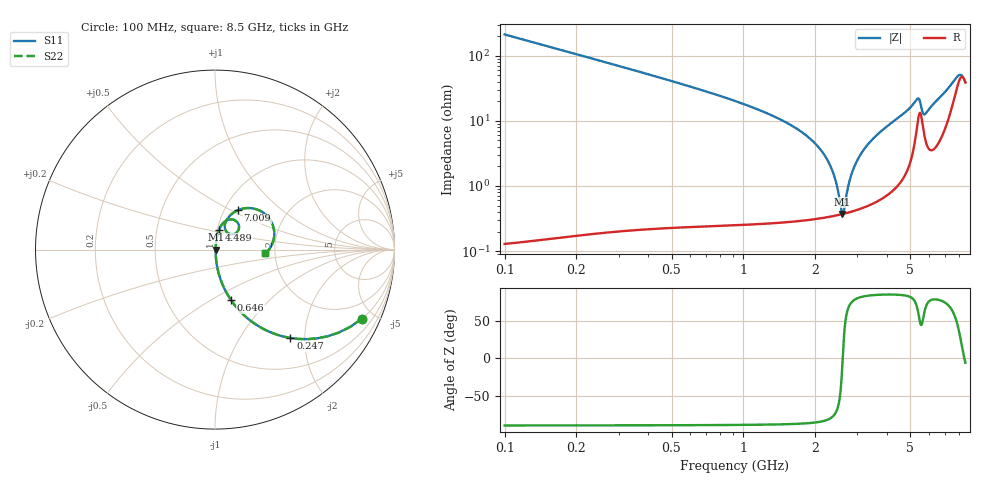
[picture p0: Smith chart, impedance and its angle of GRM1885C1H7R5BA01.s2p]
!Murata Part Number: GRM1885C1H7R5BA01
!These Parameters are Measured in Series Mode Connection
!Data Generated on Mar 30, 2021
!  o--ll--o
!Port1  Port2
!  o------o
!Operation Temp=25[degC], DC Bias Voltage=0[V]
!Freq. Start=100[MHz] Stop=9[GHz] 401[Steps]
# Hz S RI R 50
!Freq.(Hz) S11(Real) S11(Imag) S21(Real) S21(Imag) S12(Real) S12(Imag) S22(Real) S22(Imag)
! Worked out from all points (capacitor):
!   401 points, 100 MHz to 8.5 GHz, reference 50 ohm
!   read as one part in series: C = 7.5 pF near 142 MHz
!   lowest |Z| = 373 mohm at 2.599 GHz (marker M1)
!   series resonance near 2.605 GHz, so ESL is about 500 pH
!   S11 on the Smith chart (normalised r, x): 100 MHz: 1.00, -4.24; 247 MHz: 1.00, -1.70; 646 MHz: 1.00, -0.62; 4.489 GHz: 1.02, +0.23; 7.009 GHz: 1.16, +0.54; 8.5 GHz: 1.77, -0.08
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1e8  0.8176 -0.3858  0.1824 0.3858  0.1824 0.3858  0.8176 -0.3858
2.47e8  0.4202 -0.4925  0.5798 0.4925  0.5798 0.4925  0.4202 -0.4925
4.15e8  0.2 -0.3978  0.8 0.3978  0.8 0.3978  0.2 -0.3978
6.46e8  0.0888 -0.2806  0.9112 0.2806  0.9112 0.2806  0.0888 -0.2806
1.507e9  0.0116 -0.0935  0.9884 0.0935  0.9884 0.0935  0.0116 -0.0935
1.948e9  0.00544 -0.0487  0.9946 0.0487  0.9946 0.0487  0.00544 -0.0487
2.242e9  0.00394 -0.0251  0.9961 0.0251  0.9961 0.0251  0.00394 -0.0251
2.41e9  0.00365 -0.013  0.9963 0.013  0.9963 0.013  0.00365 -0.013
2.599e9  0.0037 -0.000361  0.9963 0.000361  0.9963 0.000361  0.0037 -0.000361
2.641e9  0.00376 0.00235  0.9962 -0.00235  0.9962 -0.00235  0.00376 0.00235
2.788e9  0.00409 0.0116  0.9959 -0.0116  0.9959 -0.0116  0.00409 0.0116
2.914e9  0.00452 0.0193  0.9955 -0.0193  0.9955 -0.0193  0.00452 0.0193
3.124e9  0.00553 0.0316  0.9945 -0.0316  0.9945 -0.0316  0.00553 0.0316
3.418e9  0.00752 0.0483  0.9925 -0.0483  0.9925 -0.0483  0.00752 0.0483
4.3e9  0.0188 0.0984  0.9812 -0.0984  0.9812 -0.0984  0.0188 0.0984
4.489e9  0.023 0.1102  0.977 -0.1102  0.977 -0.1102  0.023 0.1102
5.35e9  0.1109 0.1632  0.8891 -0.1632  0.8891 -0.1632  0.1109 0.1632
5.707e9  0.0696 0.0942  0.9304 -0.0942  0.9304 -0.0942  0.0696 0.0942
7.009e9  0.1276 0.2194  0.8724 -0.2194  0.8724 -0.2194  0.1276 0.2194
7.114e9  0.1423 0.2249  0.8577 -0.2249  0.8577 -0.2249  0.1423 0.2249
7.933e9  0.3102 0.1612  0.6898 -0.1612  0.6898 -0.1612  0.3102 0.1612
8.5e9  0.2799 -0.0216  0.7201 0.0216  0.7201 0.0216  0.2799 -0.0216
